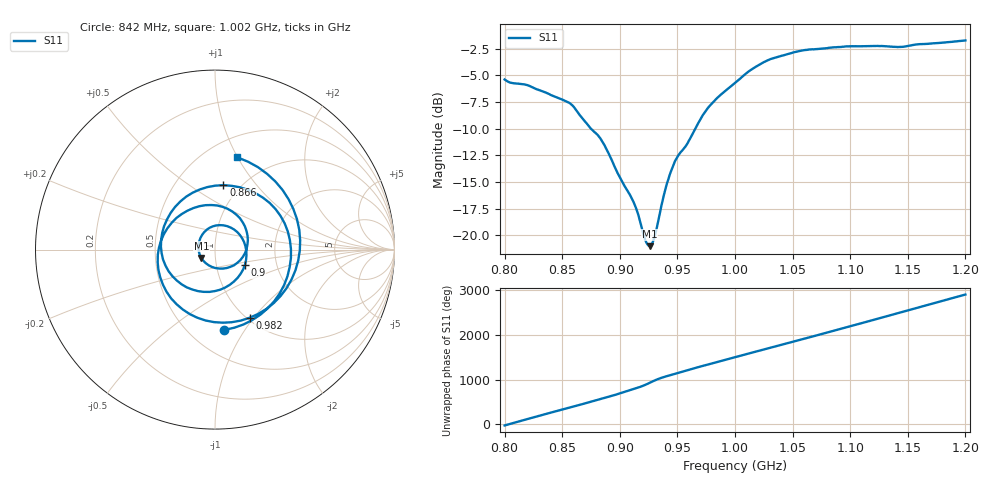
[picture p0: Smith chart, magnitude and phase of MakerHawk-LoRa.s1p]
! NanoVNA-App
! Date: 2026-05-22 19:31:24
! Start: 800MHz Stop: 1.2GHz Points: 401
! S-Parameter data: F S11
# Hz S RI R 50
!  Frequency  S11_Real  S11_Imag
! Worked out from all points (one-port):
!   401 points, 800 MHz to 1.2 GHz, reference 50 ohm
!   lowest |S11| = -21.0 dB at 926 MHz (marker M1), VSWR 1.20, Z = 42.8 - j3.99 ohm
!   |S11| at or under -10 dB: 874.9 MHz to 965.5 MHz (90.58 MHz wide, 9.84 % of centre)
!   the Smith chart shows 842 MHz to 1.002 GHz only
!   S11 on the Smith chart (normalised r, x): 842 MHz: 0.73, -0.81; 866 MHz: 0.84, +0.69; 900 MHz: 1.38, -0.24; 982 MHz: 1.03, -0.95; 1.002 GHz: 0.70, +1.00
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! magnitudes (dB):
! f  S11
! 800 MHz  -5.4
! 820 MHz  -5.9
! 842 MHz  -6.9
! 850 MHz  -7.3
! 858 MHz  -7.7
! 866 MHz  -8.8
! 884 MHz  -11.1
! 900 MHz  -14.5
! 912 MHz  -16.9
! 916 MHz  -18.0
! 922 MHz  -20.4
! 926 MHz  -21.0
! 928 MHz  -20.8
! 930 MHz  -20.2
! 938 MHz  -16.3
! 942 MHz  -14.8
! 946 MHz  -13.5
! 950 MHz  -12.6
! 959 MHz  -11.3
! 973 MHz  -8.6
! 982 MHz  -7.4
! 1 GHz  -5.7
! 1.002 GHz  -5.5
! 1.025 GHz  -3.8
! 1.05 GHz  -2.9
! 1.1 GHz  -2.3
! 1.15 GHz  -2.3
! 1.2 GHz  -1.7
